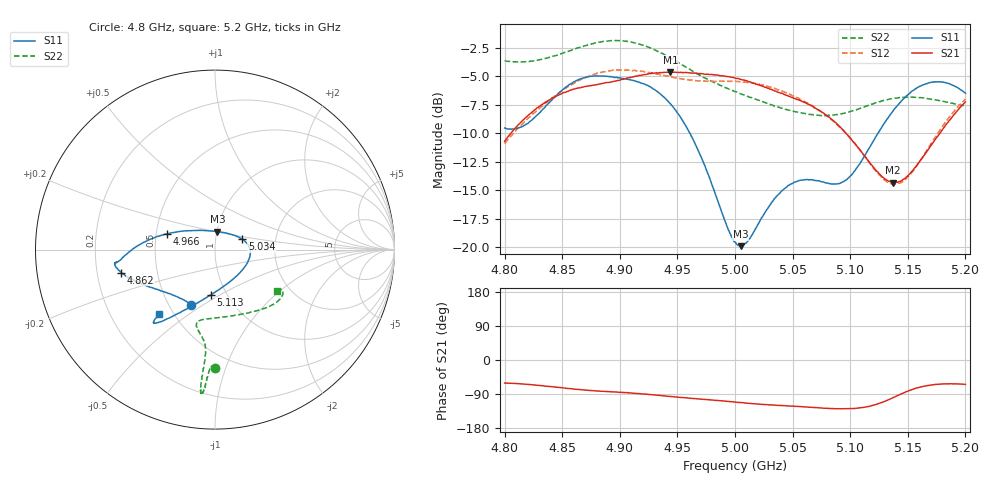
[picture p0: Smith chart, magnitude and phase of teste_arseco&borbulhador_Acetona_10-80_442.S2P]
! Network Analyzer HP8722D
! Hewlett-Packard
! Data name: Linha & Wilkinson
! Saver's name: Rodrigo Anjos
! Comments: Teste da utilização de aquisição
! continua pelo VNA HP8722D
! Time and date: 17/4/2025 18:02
!  Frequency  S11  S21  S12  S22
# HZ  S  MA R 50
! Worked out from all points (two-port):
!   401 points, 4.8 GHz to 5.2 GHz, reference 50 ohm
!   highest |S21| = -4.63 dB at 4.944 GHz (marker M1); lowest = -14.3 dB at 5.137 GHz (marker M2)
!   |S21| within 3 dB of the highest: 4.83 GHz to 5.067 GHz (236.7 MHz wide, 4.78 % of centre); 5.196425 GHz to end of sweep
!   lowest |S11| = -19.9 dB at 5.005 GHz (marker M3), VSWR 1.22, Z = 50.3 + j10.2 ohm
!   |S11| at or under -10 dB: 4.961 GHz to 5.124 GHz (163.2 MHz wide, 3.24 % of centre)
!   |S22| runs from -8.5 to -1.9 dB; largest |S21 - S12| = 0.88
!   S11 on the Smith chart (normalised r, x): 4.8 GHz: 0.65, -0.44; 4.862 GHz: 0.31, -0.11; 4.966 GHz: 0.57, +0.11; 5.034 GHz: 1.35, +0.16; 5.113 GHz: 0.84, -0.45; 5.2 GHz: 0.42, -0.39
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4.8e9  0.3335 -113.4  0.2916 -60.7  0.2853 -175.0  0.6581 -90.1
4.819e9  0.3473 -133.5  0.3729 -64.0  0.361 -173.6  0.6521 -91.6
4.862e9  0.5372 -166.1  0.4973 -77.0  0.5323 -176.8  0.7448 -93.9
4.867e9  0.5501 -168.1  0.5042 -78.6  0.5471 -177.9  0.7582 -94.0
4.901e9  0.5518 -172.6  0.5438 -85.3  0.5986 175.2  0.8065 -95.5
4.934e9  0.4757 -178.8  0.5822 -93.4  0.5751 171.8  0.719 -95.9
4.944e9  0.4259 176.6  0.5869 -96.3  0.5585 171.9  0.6758 -95.6
4.966e9  0.2804 161.7  0.5798 -102.1  0.5384 173.9  0.5809 -95.1
5e9  0.1053 99.2  0.5522 -111.2  0.5356 176.3  0.482 -99.3
5.005e9  0.101 82.5  0.5454 -112.4  0.532 176.2  0.4702 -100.5
5.012e9  0.1083 60.5  0.5312 -114.2  0.5291 176.0  0.4568 -102.0
5.034e9  0.1628 21.1  0.4858 -119.1  0.4979 174.9  0.4161 -103.8
5.05e9  0.1904 4.7  0.4528 -121.8  0.461 174.0  0.3958 -99.7
5.067e9  0.1973 -13.5  0.416 -125.0  0.4179 173.7  0.382 -90.7
5.093e9  0.1927 -58.1  0.3297 -128.8  0.3286 174.0  0.3851 -70.5
5.113e9  0.254 -95.5  0.2494 -124.3  0.2487 -179.7  0.4145 -54.9
5.134e9  0.3766 -116.8  0.1944 -103.8  0.1911 -156.8  0.4464 -43.0
5.137e9  0.3948 -118.5  0.1921 -99.7  0.1894 -152.0  0.4497 -41.7
5.15e9  0.466 -124.4  0.2056 -82.4  0.203 -132.0  0.4555 -36.7
5.17e9  0.5285 -129.2  0.2782 -66.1  0.2835 -112.3  0.4467 -31.9
5.185e9  0.5235 -130.6  0.3534 -62.9  0.3662 -107.1  0.4323 -31.0
5.2e9  0.4738 -130.9  0.4343 -64.4  0.446 -106.4  0.4164 -33.3
